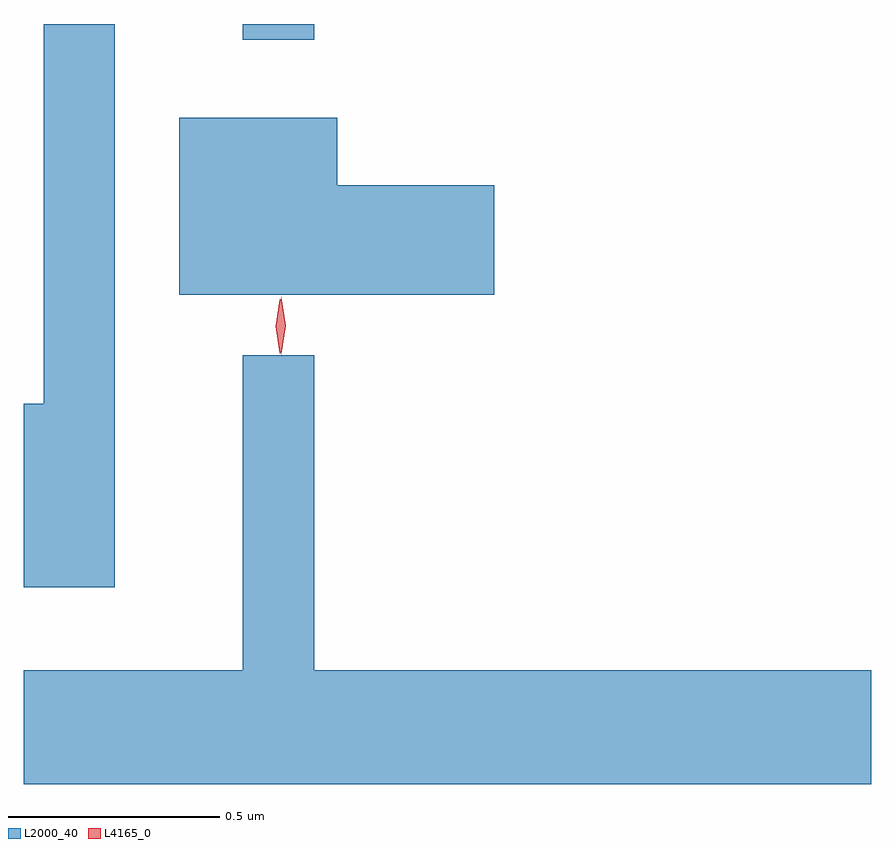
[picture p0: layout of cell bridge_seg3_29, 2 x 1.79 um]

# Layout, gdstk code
import gdstk
lib = gdstk.Library(unit=1e-6, precision=1e-09)
def R(c, l, rs):  # rectangles x0, y0, x1, y1
    for r in rs: c.add(gdstk.rectangle(r[:2], r[2:], *l))
def P(c, l, *ps):  # polygons
    for p in ps: c.add(gdstk.Polygon(p, *l))
L2000_40 = (2000, 40)
L4165_0 = (4165, 0)

bridge_seg3_29 = lib.new_cell('bridge_seg3_29')
R(bridge_seg3_29, L2000_40, [(1307.141,1178.833,1307.309,1178.87)])
P(bridge_seg3_29, L2000_40, [(1306.839,1178.87),(1306.671,1178.87),(1306.671,1177.974),(1306.624,1177.974),(1306.624,1177.541),(1306.839,1177.541)],
  [(1307.734,1178.489),(1307.364,1178.489),(1307.364,1178.649),(1306.991,1178.649),(1306.991,1178.231),(1307.734,1178.231)],
  [(1308.624,1177.344),(1307.309,1177.344),(1307.309,1178.088),(1307.141,1178.088),(1307.141,1177.344),(1306.624,1177.344),(1306.624,1177.076),(1308.624,1177.076)])
P(bridge_seg3_29, L4165_0, [(1307.231,1178.09),(1307.222,1178.158),(1307.231,1178.225),(1307.232,1178.226),(1307.232,1178.225),(1307.242,1178.158),(1307.232,1178.09),(1307.232,1178.09)],
  [(1307.228,1178.093),(1307.228,1178.093),(1307.218,1178.156),(1307.228,1178.219),(1307.228,1178.22),(1307.229,1178.219),(1307.238,1178.156),(1307.229,1178.093)])

lib.write_gds('bridge_seg3_29.gds')
